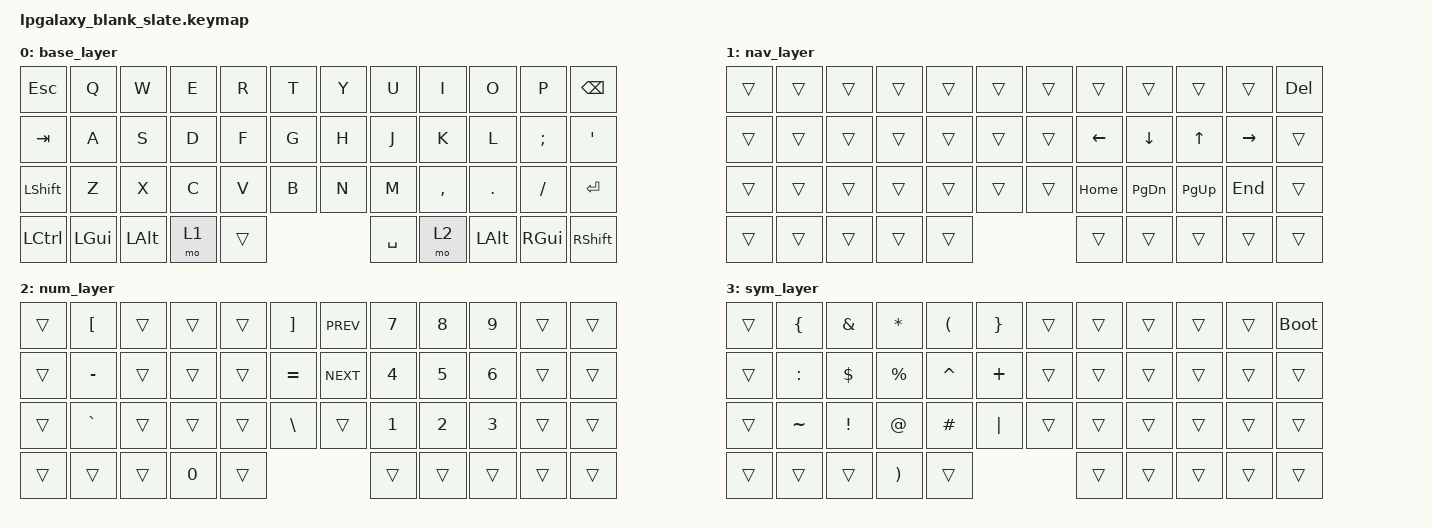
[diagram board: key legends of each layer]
/*
 * Copyright (c) 2020 The ZMK Contributors
 *
 * SPDX-License-Identifier: MIT
 */

#include <behaviors.dtsi>
#include <dt-bindings/zmk/keys.h>
#include <dt-bindings/zmk/bt.h>
#include <dt-bindings/zmk/outputs.h>

/ {
    chosen {
        zmk,physical-layout =
            &layout_ortho_4x12_2x2u;
    };

    cond_layers {
        compatible = "zmk,conditional-layers";
        tri {
            if-layers = <1 2>;
            then-layer = <3>;
        };
    };

    keymap {
        compatible = "zmk,keymap";
        base_layer {
            bindings = <
&kp ESC    &kp Q      &kp W      &kp E       &kp R          &kp T          &kp Y            &kp U          &kp I       &kp O      &kp P         &kp BKSP
&kp TAB    &kp A      &kp S      &kp D       &kp F          &kp G          &kp H            &kp J          &kp K       &kp L      &kp SEMI      &kp QUOT
&kp LSHFT  &kp Z      &kp X      &kp C       &kp V          &kp B          &kp N            &kp M          &kp COMMA   &kp DOT    &kp FSLH      &kp RET
&kp LCTRL  &kp LGUI   &kp LALT   &mo 1         &trans                        &kp SPACE                &mo 2   &kp LALT   &kp RGUI      &kp RSHIFT
            >;
        };

        nav_layer {
            bindings = <
&trans     &trans     &trans     &trans      &trans          &trans       &trans     &trans         &trans      &trans     &trans     &kp DEL
&trans     &trans     &trans     &trans      &trans          &trans       &trans     &kp LEFT       &kp DOWN    &kp UP     &kp RIGHT  &trans
&trans     &trans     &trans     &trans      &trans          &trans       &trans     &kp HOME       &kp PG_DN   &kp PG_UP  &kp END    &trans
&trans  &trans        &trans     &trans              &trans                    &trans       &trans         &trans &trans &trans
            >;
        };

        num_layer {
            bindings = <
&trans     &kp LBKT   &trans &trans &trans    &kp RBKT    &kp C_PREV    &kp N7     &kp N8      &kp N9       &trans     &trans
&trans     &kp MINUS  &trans &trans &trans    &kp EQUAL   &kp C_NEXT    &kp N4     &kp N5      &kp N6       &trans     &trans
&trans     &kp GRAVE  &trans &trans &trans    &kp BSLH    &trans        &kp N1     &kp N2      &kp N3       &trans     &trans
&trans  &trans       &trans     &kp N0              &trans                 &trans            &trans         &trans &trans &trans
            >;
        };

        sym_layer {
            bindings = <
&trans     &kp LBRC   &kp AMPS   &kp STAR    &kp LPAR     &kp RBRC     &trans     &trans    &trans       &trans       &trans     &bootloader
&trans     &kp COLON  &kp DLLR   &kp PRCNT   &kp CARET    &kp PLUS     &trans     &trans    &trans       &trans       &trans     &trans
&trans     &kp TILDE  &kp EXCL   &kp AT      &kp HASH     &kp PIPE     &trans     &trans    &trans       &trans       &trans     &trans
&trans &trans        &trans     &kp RPAR                &trans                    &trans       &trans         &trans &trans &trans
            >;
        };
    };
};

// #define TBLE_ORTHO   1
// #define TBLE_MIT     1
#define TBLE_DUAL_2U 1
